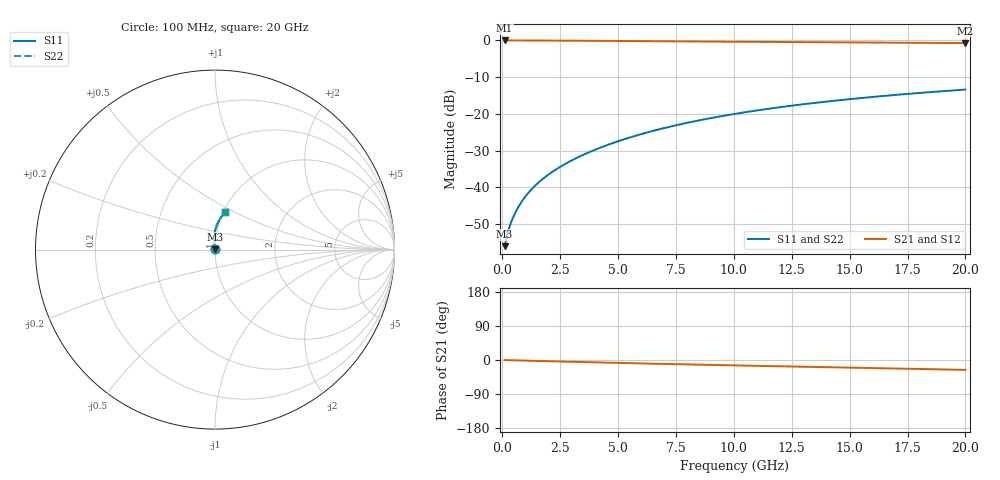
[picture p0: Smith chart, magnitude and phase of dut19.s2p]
! Touchstone file exported from HFSS 2024.1.0
!  File:  C:/UserFiles/LocalFiles/RDL_TSV_Batchsim/temp_RDL_top_19_1778680104.aedt
!  Generated:  09:50:45 PM May 13, 2026
!  Design:  RDL_top
!  Project:  temp_RDL_top_19_1778680104
!  Setup:  Setup1
!  Solution:  Sweep
! Variables:
!  dtsv = 10.80580581um
!  hbump = 3um
!  htsv = 71.6um
!  ldown = 100um
!  lrdl = 380.05um
!  p = 40
!  p1 = 51.74um
!  rhole = 1um
!  t = 450um
!  tdown = 3.915915916um
!  trdl = 4.18um
!  wdown = 15.38538539um
!  wrdl = 29.75um
# GHz S MA R 50.000000
! Terminal data exported
! Port[1] = Box2_T1
! Port[2] = Box2_T2
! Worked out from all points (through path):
!   200 points, 100 MHz to 20 GHz, reference 50 ohm
!   highest |S21| = -0.01 dB at 100 MHz (marker M1); lowest = -0.7 dB at 20 GHz (marker M2)
!   group delay of S21, straight-line fit = 3.54 ps
!   lowest |S11| = -56.0 dB at 100 MHz (marker M3), VSWR 1.00, Z = 50.1 + j0.0886 ohm
!   |S11| at or under -10 dB: start of sweep to end of sweep
!   |S22| runs from -56.0 to -13.4 dB; largest |S21 - S12| = 5.1e-15
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0.1  0.001584 33.9  0.9987 -0.2  0.9987 -0.2  0.001584 33.9
! Gamma 0 0 0 0
! Port Impedance 50 0 50 0
0.2  0.0022 49.8  0.9985 -0.3  0.9985 -0.3  0.0022 49.8
0.3  0.002838 58.1  0.9984 -0.5  0.9984 -0.5  0.002839 58.1
0.4  0.003476 63.7  0.9983 -0.7  0.9983 -0.7  0.003476 63.7
0.5  0.004122 67.9  0.9981 -0.8  0.9981 -0.8  0.004122 67.9
0.6  0.00478 71.3  0.998 -1.0  0.998 -1.0  0.00478 71.3
0.8  0.006132 76.2  0.9978 -1.3  0.9978 -1.3  0.006132 76.2
1.1  0.008238 81.0  0.9973 -1.8  0.9973 -1.8  0.008238 81.0
1.3  0.009685 83.3  0.997 -2.1  0.997 -2.1  0.009685 83.3
1.6  0.01192 86.0  0.9963 -2.6  0.9963 -2.6  0.01192 86.0
2.1  0.01579 89.1  0.995 -3.4  0.995 -3.4  0.01579 89.1
2.7  0.02071 91.6  0.9931 -4.3  0.9931 -4.3  0.02071 91.6
3.5  0.02776 93.7  0.99 -5.5  0.99 -5.5  0.02776 93.7
4.2  0.03438 94.7  0.9869 -6.5  0.9869 -6.5  0.03438 94.7
5  0.04242 95.2  0.9832 -7.7  0.9832 -7.7  0.04243 95.2
6.8  0.062 94.6  0.9745 -10.1  0.9745 -10.1  0.062 94.6
8.4  0.08052 92.9  0.9669 -12.2  0.9669 -12.2  0.08053 92.9
10.1  0.1007 90.4  0.9592 -14.3  0.9592 -14.3  0.1007 90.5
11.7  0.1199 87.9  0.9524 -16.3  0.9524 -16.3  0.1199 88.0
13.4  0.14 85.2  0.9455 -18.3  0.9455 -18.3  0.1401 85.2
16.7  0.1782 80.0  0.9327 -22.2  0.9327 -22.2  0.1782 80.0
20  0.2144 75.0  0.9202 -26.0  0.9202 -26.0  0.2145 75.0
